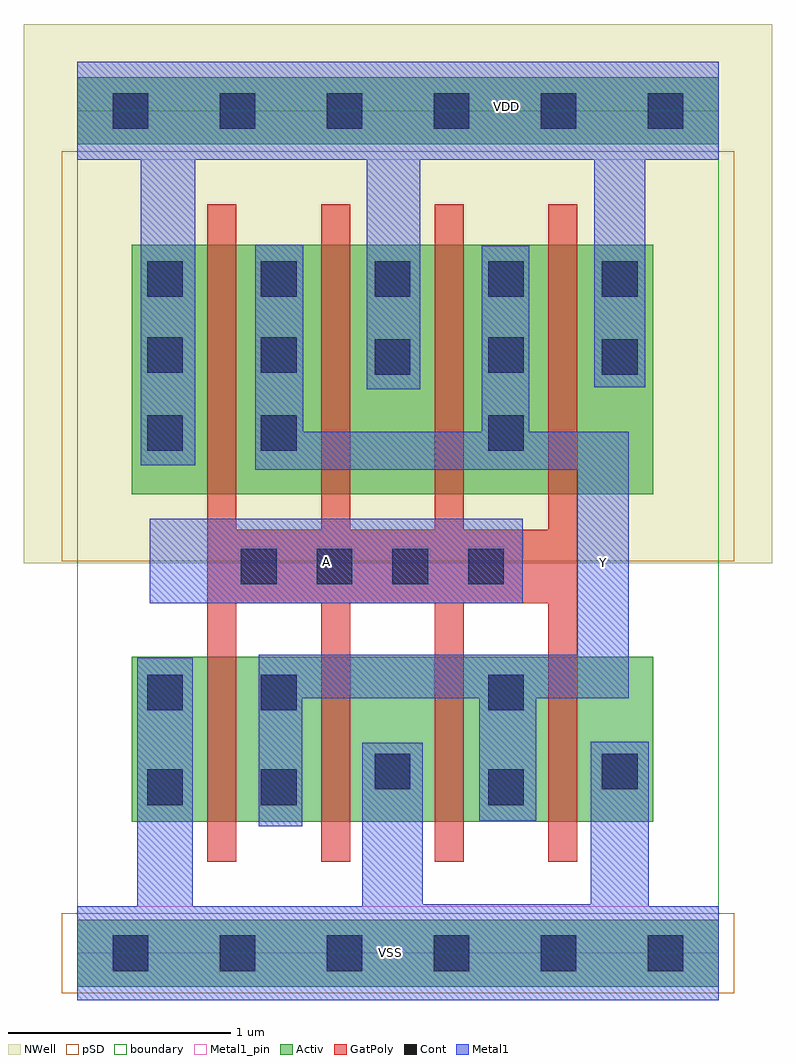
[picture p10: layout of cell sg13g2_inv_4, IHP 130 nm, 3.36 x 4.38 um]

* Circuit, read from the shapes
.subckt sg13g2_inv_4 A VDD VSS Y
XM1 Y A VSS VSS sg13_lv_nmos w=0.74u l=0.13u m=4
XM2 Y A VDD VDD sg13_lv_pmos w=1.12u l=0.13u m=4
.ends

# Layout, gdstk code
import gdstk
lib = gdstk.Library(unit=1e-6, precision=1e-09)
def R(c, l, rs):  # rectangles x0, y0, x1, y1
    for r in rs: c.add(gdstk.rectangle(r[:2], r[2:], *l))
def A(c, l, x, y, w, h, nx, ny, dx, dy):  # array of equal rectangles
    R(c, l, [(x+i*dx, y+j*dy, x+i*dx+w, y+j*dy+h) for i in range(nx) for j in range(ny)])
def P(c, l, *ps):  # polygons
    for p in ps: c.add(gdstk.Polygon(p, *l))
Activ = (1, 0)
GatPoly = (5, 0)
Cont = (6, 0)
Metal1 = (8, 0)
Metal1_pin = (8, 2)
pSD = (14, 0)
NWell = (31, 0)
boundary = (189, 4)

sg13g2_inv_4 = lib.new_cell('sg13g2_inv_4')
R(sg13g2_inv_4, Activ, [(0,-0.15,2.88,0.15), (0.245,0.59,2.585,1.33), (0.245,2.06,2.585,3.18), (0,3.63,2.88,3.93)])
P(sg13g2_inv_4, GatPoly, [(2.245,3.36),(2.115,3.36),(2.115,1.9),(1.735,1.9),(1.735,3.36),(1.605,3.36),(1.605,1.9),(1.225,1.9),(1.225,3.36),(1.095,3.36),(1.095,1.9),(0.715,1.9),(0.715,3.36),(0.585,3.36),(0.585,0.41),(0.715,0.41),(0.715,1.57),(1.095,1.57),(1.095,0.41),(1.225,0.41),(1.225,1.57),(1.605,1.57),(1.605,0.41),(1.735,0.41),(1.735,1.57),(2.115,1.57),(2.115,0.41),(2.245,0.41)])
A(sg13g2_inv_4, Cont, 0.735, 1.655, 0.16, 0.16, 4, 1, 0.34, 0)
A(sg13g2_inv_4, Cont, 0.315, 2.945, 0.16, 0.16, 5, 1, 0.51, 0)
R(sg13g2_inv_4, Cont, [(0.16,-0.08,0.32,0.08), (0.16,-0.08,0.32,0.08), (0.64,-0.08,0.8,0.08), (0.64,-0.08,0.8,0.08), (1.12,-0.08,1.28,0.08), (1.12,-0.08,1.28,0.08), (1.6,-0.08,1.76,0.08), (1.6,-0.08,1.76,0.08), (2.08,-0.08,2.24,0.08), (2.08,-0.08,2.24,0.08), (2.56,-0.08,2.72,0.08), (2.56,-0.08,2.72,0.08), (0.315,0.665,0.475,0.825), (0.825,0.665,0.985,0.825), (1.845,0.665,2.005,0.825), (1.335,0.735,1.495,0.895), (2.355,0.735,2.515,0.895), (0.315,1.09,0.475,1.25), (0.825,1.09,0.985,1.25), (1.845,1.09,2.005,1.25), (0.315,2.255,0.475,2.415), (0.825,2.255,0.985,2.415), (1.845,2.255,2.005,2.415), (1.335,2.595,1.495,2.755), (2.355,2.595,2.515,2.755), (0.315,2.605,0.475,2.765), (0.825,2.605,0.985,2.765), (1.845,2.605,2.005,2.765), (0.16,3.7,0.32,3.86), (0.16,3.7,0.32,3.86), (0.64,3.7,0.8,3.86), (0.64,3.7,0.8,3.86), (1.12,3.7,1.28,3.86), (1.12,3.7,1.28,3.86), (1.6,3.7,1.76,3.86), (1.6,3.7,1.76,3.86), (2.08,3.7,2.24,3.86), (2.08,3.7,2.24,3.86), (2.56,3.7,2.72,3.86), (2.56,3.7,2.72,3.86)])
R(sg13g2_inv_4, Metal1, [(0.325,1.57,2,1.95)])
P(sg13g2_inv_4, Metal1, [(2.03,2.34),(2.475,2.34),(2.475,1.145),(2.06,1.145),(2.06,0.595),(1.805,0.595),(1.805,1.145),(1.01,1.145),(1.01,0.57),(0.815,0.57),(0.815,1.34),(2.245,1.34),(2.245,2.17),(0.8,2.17),(0.8,3.18),(1.015,3.18),(1.015,2.34),(1.815,2.34),(1.815,3.175),(2.03,3.175)],
  [(0,3.56),(0,4),(2.88,4),(2.88,3.56),(2.55,3.56),(2.55,2.54),(2.32,2.54),(2.32,3.56),(1.54,3.56),(1.54,2.53),(1.3,2.53),(1.3,3.56),(0.53,3.56),(0.53,2.19),(0.285,2.19),(0.285,3.56)],
  [(0,-0.21),(0,0.21),(0.27,0.21),(0.27,1.325),(0.52,1.325),(0.52,0.21),(1.28,0.21),(1.28,0.945),(1.55,0.945),(1.55,0.22),(2.305,0.22),(2.305,0.95),(2.565,0.95),(2.565,0.21),(2.88,0.21),(2.88,-0.21)])
R(sg13g2_inv_4, Metal1_pin, [(0,-0.21,2.88,0.21), (2.245,1.145,2.475,2.34), (0.325,1.57,2,1.95), (0,3.56,2.88,4)])
R(sg13g2_inv_4, pSD, [(-0.07,-0.18,2.95,0.18), (-0.07,1.76,2.95,3.6)])
R(sg13g2_inv_4, NWell, [(-0.24,1.75,3.12,4.17)])
R(sg13g2_inv_4, boundary, [(0,0,2.88,3.78)])
sg13g2_inv_4.add(gdstk.Label('A', (1.12,1.76), layer=8, texttype=25))
sg13g2_inv_4.add(gdstk.Label('VDD', (1.925,3.8), layer=8, texttype=25))
sg13g2_inv_4.add(gdstk.Label('Y', (2.36,1.755), layer=8, texttype=25))
sg13g2_inv_4.add(gdstk.Label('VSS', (1.405,0.005), layer=8, texttype=25))

lib.write_gds('sg13g2_inv_4.gds')
